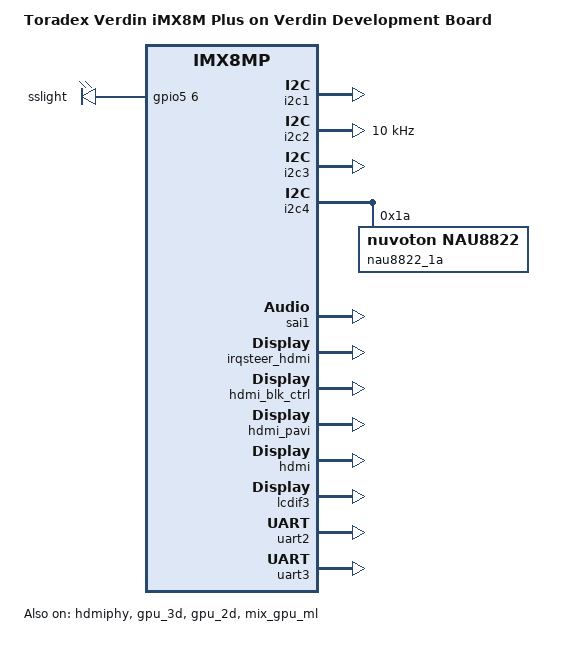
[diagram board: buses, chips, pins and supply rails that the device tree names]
// SPDX-License-Identifier: GPL-2.0-or-later OR MIT
/*
 * Copyright 2022 Toradex
 */

/dts-v1/;

#include "imx8mp-verdin.dtsi"
#include "imx8mp-verdin-nonwifi.dtsi"
#include "imx8mp-verdin-dev.dtsi"

/ {
	model = "Toradex Verdin iMX8M Plus on Verdin Development Board";
	compatible = "toradex,verdin-imx8mp-nonwifi-dev",
		     "toradex,verdin-imx8mp-nonwifi",
		     "toradex,verdin-imx8mp",
		     "fsl,imx8mp";

	chosen {
		stdout-path = &uart3;
	};

    leds {
        compatible = "gpio-leds";
        pinctrl-names = "default";
        pinctrl-0 = <&pinctrl_led>;
        status = "okay";

        led-1 {
            label = "sslight";
            function-enumerator = <1>;
            gpios = <&gpio5 6 GPIO_ACTIVE_HIGH>;
            status = "okay";
            };
    };

        sound {
                compatible = "simple-audio-card";
                model = "nau8822-audio";
                simple-audio-card,bitclock-master = <&codec_dai>;
                simple-audio-card,format = "i2s";
                simple-audio-card,frame-master = <&codec_dai>;
                simple-audio-card,mclk-fs = <256>;
                simple-audio-card,name = "verdin-nau8822";
                status = "okay";
                simple-audio-card,routing =
                        "Headphones", "LHP",
                        "Headphones", "RHP",
                        "Speaker", "LSPK",
                        "Speaker", "RSPK",
                        "Line Out", "AUXOUT1",
                        "Line Out", "AUXOUT2",
                        "LAUX", "Line In",
                        "RAUX", "Line In",
                        "LMICP", "Mic In",
                        "RMICP", "Mic In";
                simple-audio-card,widgets =
                        "Headphones", "Headphones",
                        "Line Out", "Line Out",
                        "Speaker", "Speaker",
                        "Microphone", "Mic In",
                        "Line", "Line In";

                codec_dai: simple-audio-card,codec {
                        clocks = <&audio_blk_ctrl IMX8MP_CLK_AUDIO_BLK_CTRL_SAI1_MCLK1>;
                        sound-dai = <&nau8822_1a>;
                };

                simple-audio-card,cpu {
                        sound-dai = <&sai1>;
                };
        };

};

&pwm3 {
	status = "disabled";
};

&i2c1 {
	status = "okay";
};

&i2c2 {
        clock-frequency = <10000>;
	status = "okay";
};

&i2c3 {
	status = "okay";
};

/* Verdin I2C_1 */
&i2c4 {
        status = "okay";

        /* Audio Codec */
        nau8822_1a: audio-codec@1a {
                compatible = "nuvoton,nau8822";
                reg = <0x1a>;
                pinctrl-names = "default";
                pinctrl-0 = <&pinctrl_sai1>;
                #sound-dai-cells = <0>;
        };
};

/* Verdin I2S_1 */
&sai1 {
        #sound-dai-cells = <0>;
        assigned-clocks = <&clk IMX8MP_CLK_SAI1>;
        assigned-clock-parents = <&clk IMX8MP_AUDIO_PLL1_OUT>;
        assigned-clock-rates = <24576000>;
        fsl,sai-mclk-direction-output;
        status = "okay";
};

&sdma2 {
        status = "okay";
};

&irqsteer_hdmi {
	status = "okay";
};

&hdmi_blk_ctrl {
	status = "okay";
};

&hdmi_pavi {
	status = "okay";
};

&hdmi {
	status = "okay";
};

&hdmiphy {
	status = "okay";
};

&lcdif3 {
	status = "okay";

	thres-low  = <1 2>;             /* (FIFO * 1 / 2) */
	thres-high = <3 4>;             /* (FIFO * 3 / 4) */
};

&uart2 {
	/* console */
	pinctrl-names = "default";
	pinctrl-0 = <&pinctrl_uart2>;
	status = "okay";
};
&uart3 {
	pinctrl-names = "default";
	pinctrl-0 = <&pinctrl_uart3>;
	status = "okay";
};

&gpu_3d {
	status = "okay";
};

&gpu_2d {
	status = "okay";
};

&mix_gpu_ml {
	status = "okay";
};

#include "imx8mp-android.dtsi"
